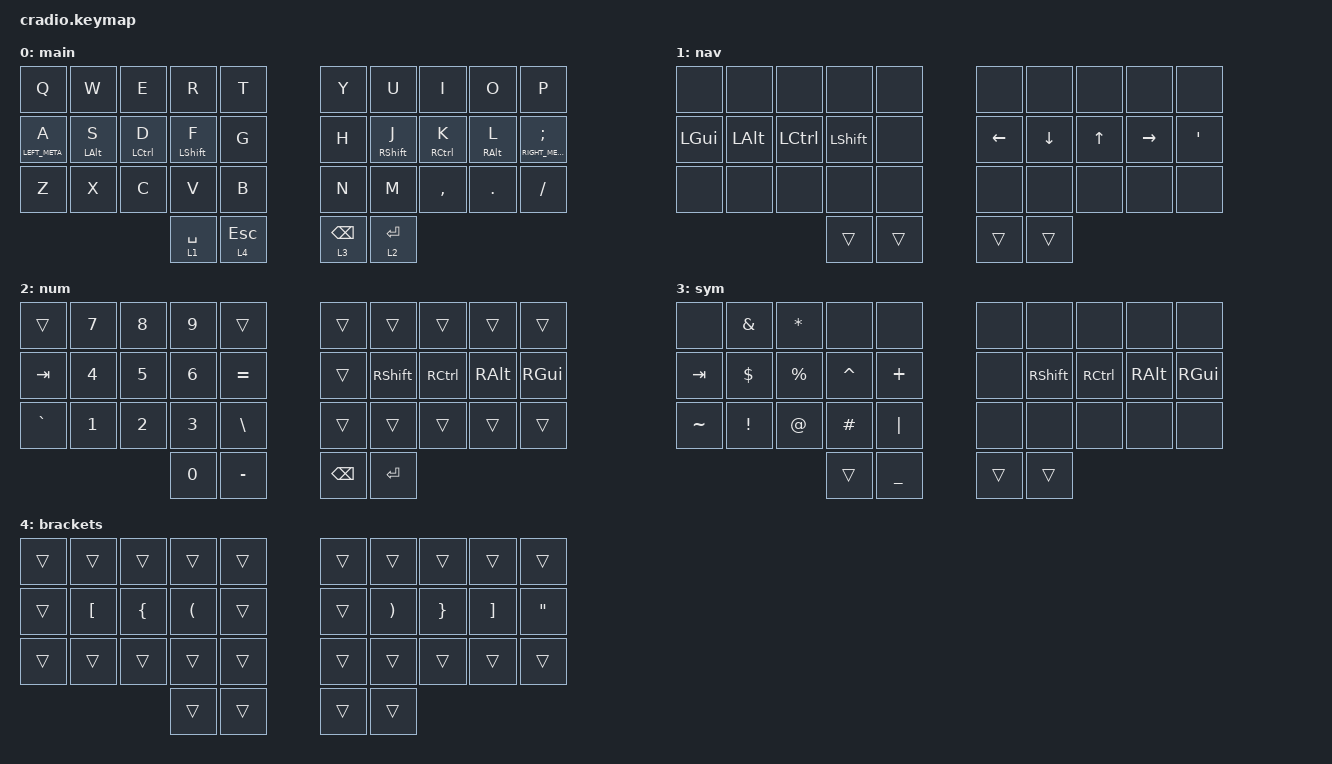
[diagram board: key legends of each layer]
/*
 * Copyright (c) 2022 The ZMK Contributors
 *
 * SPDX-License-Identifier: MIT
 */
#include <behaviors.dtsi>
#include <dt-bindings/zmk/keys.h>

&lt {
  flavor = "tap-preferred";
  tapping-term-ms = <150>;
};

&sk {
  quick-release;
};

/ {
  behaviors {
    lpht: left_positional_hold_tap {
      compatible = "zmk,behavior-hold-tap";
      #binding-cells = <2>;
      flavor = "balanced";
      tapping-term-ms = <200>;
      quick-tap-ms = <175>;
      require-prior-idle-ms = <150>;
      bindings = <&kp>, <&kp>;
      hold-trigger-key-positions = <4 5 6 7 12 13 14 15 20 21 22 23>;
      hold-trigger-on-release;
    };

    rpht: right_positional_hold_tap {
      compatible = "zmk,behavior-hold-tap";
      #binding-cells = <2>;
      flavor = "balanced";
      tapping-term-ms = <200>;
      quick-tap-ms = <175>;
      require-prior-idle-ms = <150>;
      bindings = <&kp>, <&kp>;
      hold-trigger-key-positions = <0 1 2 3 8 9 10 11 16 17 18 19>;
      hold-trigger-on-release;
    };

    // lphts: left_positional_hold_tap_shift {
    //   compatible = "zmk,behavior-hold-tap";
    //   #binding-cells = <2>;
    //   flavor = "balanced";
    //   tapping-term-ms = <160>;
    //   quick-tap-ms = <175>;
    //   require-prior-idle-ms = <150>;
    //   bindings = <&kp>, <&kp>;
    //   hold-trigger-key-positions = <4 5 6 7 12 13 14 15 20 21 22 23>;
    //   hold-trigger-on-release;
    // };
    //
    // rphts: right_positional_hold_tap_shift {
    //   compatible = "zmk,behavior-hold-tap";
    //   #binding-cells = <2>;
    //   flavor = "balanced";
    //   tapping-term-ms = <160>;
    //   quick-tap-ms = <175>;
    //   require-prior-idle-ms = <150>;
    //   bindings = <&kp>, <&kp>;
    //   hold-trigger-key-positions = <0 1 2 3 8 9 10 11 16 17 18 19>;
    //   hold-trigger-on-release;
    // };

    hm: homerow_mods {
    compatible = "zmk,behavior-hold-tap";
    #binding-cells = <2>;
    tapping-term-ms = <150>;
    quick-tap-ms = <0>;
    flavor = "tap-preferred";
    bindings = <&kp>, <&kp>;
    };
  };
  combos {
    compatible = "zmk,combos";

    combo_shft_caps_word {
      bindings = <&caps_word>;
      key-positions = <13 16>;
    };
    combo_sticky_shift_left {
      bindings = <&sk LSHIFT>;
      key-positions = <30 31>;
    };
    combo_sticky_shift_right {
      bindings = <&sk RSHIFT>;
      key-positions = <32 33>;
    };
    combo_sticky_shift_first_thumb_keys {
      bindings = <&sk LSHIFT>;
      key-positions = <30 33>;
    };
    combo_left_paren {
      bindings = <&kp LEFT_PARENTHESIS>;
      key-positions = <3 13>;
    };
    combo_left_bracket {
      bindings = <&kp LEFT_BRACKET>;
      key-positions = <1 11>;
    };
    combo_left_brace {
      bindings = <&kp LEFT_BRACE>;
      key-positions = <2 12>;
    };
    combo_right_paren {
      bindings = <&kp RIGHT_PARENTHESIS>;
      key-positions = <6 16>;
    };
    combo_right_bracket {
      bindings = <&kp RIGHT_BRACKET>;
      key-positions = <8 18>;
    };
    combo_right_brace {
      bindings = <&kp RIGHT_BRACE>;
      key-positions = <7 17>;
    };
  };
  keymap {
    compatible = "zmk,keymap";

    main {
      bindings = <
        &kp Q               &kp W              &kp E                  &kp R                 &kp T          &kp Y             &kp U                  &kp I                   &kp O               &kp P
        &lpht LEFT_META A   &lpht LEFT_ALT S   &lpht LEFT_CONTROL D   &hm LEFT_SHIFT F      &kp G          &kp H             &hm RIGHT_SHIFT J      &rpht RIGHT_CONTROL K   &rpht RIGHT_ALT L   &rpht RIGHT_META SEMICOLON
        &kp Z               &kp X              &kp C                  &kp V                 &kp B          &kp N             &kp M                  &kp COMMA               &kp DOT             &kp FSLH
                                                                      &lt 1 SPACE           &lt 4 ESCAPE   &lt 3 BACKSPACE   &lt 2 ENTER
      >;
    };
    nav {
      bindings = <
        &none      &none      &none       &none       &none    &none            &none            &none          &none             &none
        &kp LGUI   &kp LALT   &kp LCTRL   &kp LSHFT   &none    &kp LEFT_ARROW   &kp DOWN_ARROW   &kp UP_ARROW   &kp RIGHT_ARROW   &kp SINGLE_QUOTE
        &none      &none      &none       &none       &none    &none            &none            &none          &none             &none
                                          &trans      &trans   &trans           &trans
      >;
    };
    num {
      bindings = <
        &trans      &kp N7   &kp N8   &kp N9   &trans      &trans     &trans      &trans      &trans     &trans
        &kp TAB     &kp N4   &kp N5   &kp N6   &kp EQUAL   &trans     &kp RSHFT   &kp RCTRL   &kp RALT   &kp RGUI
        &kp GRAVE   &kp N1   &kp N2   &kp N3   &kp BSLH    &trans     &trans      &trans      &trans     &trans
                                      &kp N0   &kp MINUS   &kp BSPC   &kp ENTER
      >;
    };
    sym {
      bindings = <
        &none       &kp AMPS   &kp STAR    &none       &none       &none    &none       &none       &none      &none
        &kp TAB     &kp DLLR   &kp PRCNT   &kp CARET   &kp PLUS    &none    &kp RSHFT   &kp RCTRL   &kp RALT   &kp RGUI
        &kp TILDE   &kp EXCL   &kp AT      &kp POUND   &kp PIPE    &none    &none       &none       &none      &none
                                           &trans      &kp UNDER   &trans   &trans
      >;
    };
    brackets {
      bindings = <
        &trans   &trans             &trans           &trans                 &trans   &trans   &trans                  &trans            &trans              &trans
        &trans   &kp LEFT_BRACKET   &kp LEFT_BRACE   &kp LEFT_PARENTHESIS   &trans   &trans   &kp RIGHT_PARENTHESIS   &kp RIGHT_BRACE   &kp RIGHT_BRACKET   &kp DOUBLE_QUOTES
        &trans   &trans             &trans           &trans                 &trans   &trans   &trans                  &trans            &trans              &trans
                                                     &trans                 &trans   &trans   &trans
      >;
    };
  };
};
